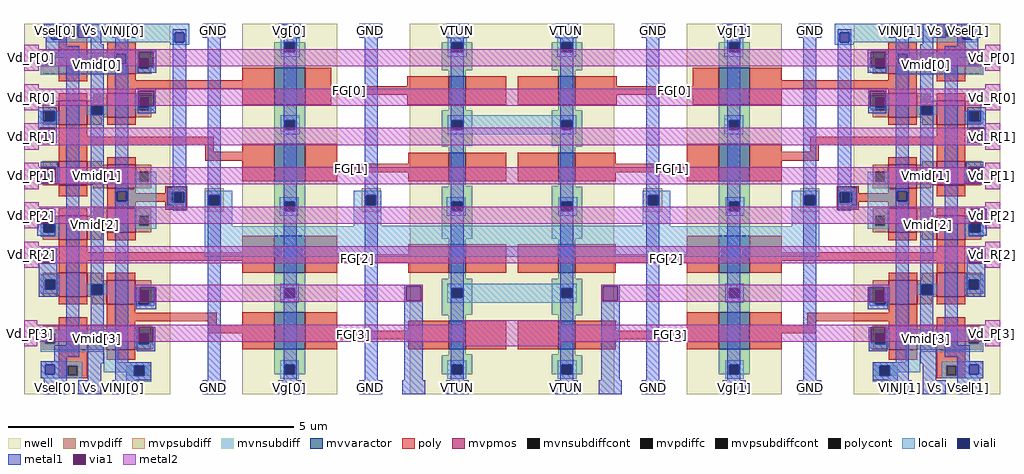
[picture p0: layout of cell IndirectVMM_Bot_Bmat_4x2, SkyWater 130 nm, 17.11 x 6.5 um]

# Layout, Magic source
magic
tech sky130A
<< nwell >>
rect -3 1 253 651
rect 380 1 546 651
rect 673 1 1032 651
rect 1159 1 1325 651
rect 1452 1 1708 651
<< mvpmos >>
rect 58 563 108 605
rect 143 563 193 605
rect 58 474 108 516
rect 143 487 193 529
rect 1512 563 1562 605
rect 1597 563 1647 605
rect 58 368 108 410
rect 143 362 193 404
rect 1512 487 1562 529
rect 1597 474 1647 516
rect 58 272 108 314
rect 143 285 193 327
rect 1512 362 1562 404
rect 1597 368 1647 410
rect 1512 285 1562 327
rect 1597 272 1647 314
rect 58 172 108 214
rect 142 159 192 201
rect 58 79 108 121
rect 142 79 192 121
rect 1513 159 1563 201
rect 1597 172 1647 214
rect 1513 79 1563 121
rect 1597 79 1647 121
<< mvvaractor >>
rect 436 509 490 574
rect 742 509 771 559
rect 934 509 963 559
rect 1215 509 1269 574
rect 436 375 490 440
rect 742 375 771 425
rect 934 375 963 425
rect 1215 375 1269 440
rect 436 214 490 279
rect 742 214 771 264
rect 934 214 963 264
rect 1215 214 1269 279
rect 436 80 490 145
rect 742 80 771 130
rect 934 80 963 130
rect 1215 80 1269 145
<< mvpdiff >>
rect 30 596 58 605
rect 30 579 34 596
rect 52 579 58 596
rect 30 563 58 579
rect 108 563 143 605
rect 193 590 220 605
rect 193 573 199 590
rect 216 573 220 590
rect 193 563 220 573
rect 118 516 143 529
rect 30 497 58 516
rect 30 480 34 497
rect 52 480 58 497
rect 30 474 58 480
rect 108 508 143 516
rect 108 491 116 508
rect 134 491 143 508
rect 108 487 143 491
rect 193 516 220 529
rect 193 499 199 516
rect 216 499 220 516
rect 1485 590 1512 605
rect 1485 573 1489 590
rect 1506 573 1512 590
rect 1485 563 1512 573
rect 1562 563 1597 605
rect 1647 596 1675 605
rect 1647 579 1653 596
rect 1671 579 1675 596
rect 1647 563 1675 579
rect 1485 516 1512 529
rect 193 487 220 499
rect 108 474 133 487
rect 30 399 58 410
rect 30 382 34 399
rect 52 382 58 399
rect 30 368 58 382
rect 108 404 133 410
rect 108 368 143 404
rect 118 362 143 368
rect 193 391 220 404
rect 193 374 199 391
rect 216 374 220 391
rect 1485 499 1489 516
rect 1506 499 1512 516
rect 1485 487 1512 499
rect 1562 516 1587 529
rect 1562 508 1597 516
rect 1562 491 1571 508
rect 1589 491 1597 508
rect 1562 487 1597 491
rect 1572 474 1597 487
rect 1647 497 1675 516
rect 1647 480 1653 497
rect 1671 480 1675 497
rect 1647 474 1675 480
rect 1572 404 1597 410
rect 1485 391 1512 404
rect 193 362 220 374
rect 118 314 143 327
rect 30 302 58 314
rect 30 285 34 302
rect 52 285 58 302
rect 30 272 58 285
rect 108 285 143 314
rect 193 314 220 327
rect 193 297 199 314
rect 216 297 220 314
rect 193 285 220 297
rect 108 272 134 285
rect 1485 374 1489 391
rect 1506 374 1512 391
rect 1485 362 1512 374
rect 1562 368 1597 404
rect 1647 399 1675 410
rect 1647 382 1653 399
rect 1671 382 1675 399
rect 1647 368 1675 382
rect 1562 362 1587 368
rect 1485 314 1512 327
rect 1485 297 1489 314
rect 1506 297 1512 314
rect 1485 285 1512 297
rect 1562 314 1587 327
rect 1562 285 1597 314
rect 1571 272 1597 285
rect 1647 302 1675 314
rect 1647 285 1653 302
rect 1671 285 1675 302
rect 1647 272 1675 285
rect 30 202 58 214
rect 30 185 34 202
rect 52 185 58 202
rect 30 172 58 185
rect 108 201 134 214
rect 108 193 142 201
rect 108 176 116 193
rect 134 176 142 193
rect 108 172 142 176
rect 117 159 142 172
rect 192 183 220 201
rect 192 166 198 183
rect 216 166 220 183
rect 192 159 220 166
rect 30 107 58 121
rect 30 90 34 107
rect 52 90 58 107
rect 30 79 58 90
rect 108 79 142 121
rect 192 106 220 121
rect 192 89 198 106
rect 216 89 220 106
rect 192 79 220 89
rect 1571 201 1597 214
rect 1485 183 1513 201
rect 1485 166 1489 183
rect 1507 166 1513 183
rect 1485 159 1513 166
rect 1563 193 1597 201
rect 1563 176 1571 193
rect 1589 176 1597 193
rect 1563 172 1597 176
rect 1647 202 1675 214
rect 1647 185 1653 202
rect 1671 185 1675 202
rect 1647 172 1675 185
rect 1563 159 1588 172
rect 1485 106 1513 121
rect 1485 89 1489 106
rect 1507 89 1513 106
rect 1485 79 1513 89
rect 1563 79 1597 121
rect 1647 107 1675 121
rect 1647 90 1653 107
rect 1671 90 1675 107
rect 1647 79 1675 90
<< mvpdiffc >>
rect 34 579 52 596
rect 199 573 216 590
rect 34 480 52 497
rect 116 491 134 508
rect 199 499 216 516
rect 1489 573 1506 590
rect 1653 579 1671 596
rect 34 382 52 399
rect 199 374 216 391
rect 1489 499 1506 516
rect 1571 491 1589 508
rect 1653 480 1671 497
rect 34 285 52 302
rect 199 297 216 314
rect 1489 374 1506 391
rect 1653 382 1671 399
rect 1489 297 1506 314
rect 1653 285 1671 302
rect 34 185 52 202
rect 116 176 134 193
rect 198 166 216 183
rect 34 90 52 107
rect 198 89 216 106
rect 1489 166 1507 183
rect 1571 176 1589 193
rect 1653 185 1671 202
rect 1489 89 1507 106
rect 1653 90 1671 107
<< mvpsubdiff >>
rect 314 350 347 362
rect 314 333 322 350
rect 339 333 347 350
rect 314 321 347 333
rect 589 350 622 362
rect 589 333 597 350
rect 614 333 622 350
rect 589 321 622 333
rect 1083 350 1116 362
rect 1083 333 1091 350
rect 1108 333 1116 350
rect 1083 321 1116 333
rect 1358 350 1391 362
rect 1358 333 1366 350
rect 1383 333 1391 350
rect 1358 321 1391 333
<< mvnsubdiff >>
rect 436 601 455 618
rect 472 601 490 618
rect 436 574 490 601
rect 729 601 748 618
rect 765 601 783 618
rect 729 569 783 601
rect 922 601 940 618
rect 957 601 976 618
rect 922 569 976 601
rect 1215 601 1233 618
rect 1250 601 1269 618
rect 1215 574 1269 601
rect 742 559 771 569
rect 934 559 963 569
rect 436 482 490 509
rect 742 499 771 509
rect 934 499 963 509
rect 436 465 455 482
rect 472 465 490 482
rect 436 440 490 465
rect 729 482 783 499
rect 729 465 748 482
rect 765 465 783 482
rect 729 437 783 465
rect 922 482 976 499
rect 922 465 940 482
rect 957 465 976 482
rect 922 437 976 465
rect 1215 482 1269 509
rect 1215 465 1233 482
rect 1250 465 1269 482
rect 1215 440 1269 465
rect 729 435 771 437
rect 742 425 771 435
rect 934 435 976 437
rect 934 425 963 435
rect 436 339 490 375
rect 742 367 771 375
rect 934 367 963 375
rect 742 365 783 367
rect 436 322 453 339
rect 470 322 490 339
rect 436 279 490 322
rect 729 339 783 365
rect 729 322 746 339
rect 763 322 783 339
rect 729 274 783 322
rect 922 365 963 367
rect 922 339 976 365
rect 922 322 942 339
rect 959 322 976 339
rect 922 274 976 322
rect 1215 339 1269 375
rect 1215 322 1235 339
rect 1252 322 1269 339
rect 1215 279 1269 322
rect 742 264 771 274
rect 934 264 963 274
rect 436 187 490 214
rect 742 204 771 214
rect 934 204 963 214
rect 436 170 454 187
rect 471 170 490 187
rect 436 145 490 170
rect 729 187 783 204
rect 729 170 747 187
rect 764 170 783 187
rect 729 141 783 170
rect 922 187 976 204
rect 922 170 941 187
rect 958 170 976 187
rect 922 141 976 170
rect 1215 187 1269 214
rect 1215 170 1234 187
rect 1251 170 1269 187
rect 1215 145 1269 170
rect 729 140 771 141
rect 742 130 771 140
rect 934 140 976 141
rect 934 130 963 140
rect 436 53 490 80
rect 742 71 771 80
rect 934 71 963 80
rect 742 70 783 71
rect 176 51 220 52
rect 176 34 190 51
rect 208 34 220 51
rect 436 36 454 53
rect 471 36 490 53
rect 729 53 783 70
rect 729 36 747 53
rect 764 36 783 53
rect 922 70 963 71
rect 922 53 976 70
rect 922 36 941 53
rect 958 36 976 53
rect 1215 53 1269 80
rect 1215 36 1234 53
rect 1251 36 1269 53
rect 1485 51 1529 52
rect 1485 34 1497 51
rect 1515 34 1529 51
<< mvpsubdiffcont >>
rect 322 333 339 350
rect 597 333 614 350
rect 1091 333 1108 350
rect 1366 333 1383 350
<< mvnsubdiffcont >>
rect 455 601 472 618
rect 748 601 765 618
rect 940 601 957 618
rect 1233 601 1250 618
rect 455 465 472 482
rect 748 465 765 482
rect 940 465 957 482
rect 1233 465 1250 482
rect 453 322 470 339
rect 746 322 763 339
rect 942 322 959 339
rect 1235 322 1252 339
rect 454 170 471 187
rect 747 170 764 187
rect 941 170 958 187
rect 1234 170 1251 187
rect 190 34 208 51
rect 454 36 471 53
rect 747 36 764 53
rect 941 36 958 53
rect 1234 36 1251 53
rect 1497 34 1515 51
<< poly >>
rect 58 646 108 651
rect 58 629 74 646
rect 91 629 108 646
rect 58 605 108 629
rect 1597 646 1647 651
rect 1597 629 1614 646
rect 1631 629 1647 646
rect 143 605 193 618
rect 58 550 108 563
rect 143 552 193 563
rect 380 552 436 574
rect 143 537 436 552
rect 143 529 193 537
rect 58 516 108 529
rect 380 509 436 537
rect 490 541 536 574
rect 1512 605 1562 618
rect 1597 605 1647 629
rect 669 541 742 559
rect 490 526 742 541
rect 490 509 536 526
rect 669 509 742 526
rect 771 509 842 559
rect 863 509 934 559
rect 963 541 1036 559
rect 1169 541 1215 574
rect 963 526 1215 541
rect 963 509 1036 526
rect 1169 509 1215 526
rect 1269 552 1325 574
rect 1512 552 1562 563
rect 1269 537 1562 552
rect 1597 550 1647 563
rect 1269 509 1325 537
rect 1512 529 1562 537
rect 143 474 193 487
rect 58 453 108 474
rect 58 438 330 453
rect 58 410 108 438
rect 315 426 330 438
rect 380 426 436 440
rect 143 404 193 417
rect 315 411 436 426
rect 58 348 108 368
rect 380 375 436 411
rect 490 405 546 440
rect 1597 516 1647 529
rect 1512 474 1562 487
rect 1597 453 1647 474
rect 671 405 742 425
rect 490 390 742 405
rect 490 375 546 390
rect 671 375 742 390
rect 771 375 842 425
rect 863 375 934 425
rect 963 405 1034 425
rect 1159 405 1215 440
rect 963 390 1215 405
rect 963 375 1034 390
rect 1159 375 1215 390
rect 1269 426 1325 440
rect 1375 438 1647 453
rect 1375 426 1390 438
rect 1269 411 1390 426
rect 1269 375 1325 411
rect 1512 404 1562 417
rect 1597 410 1647 438
rect 143 354 193 362
rect 245 355 283 366
rect 245 354 256 355
rect 143 339 256 354
rect 143 327 193 339
rect 245 338 256 339
rect 273 338 283 355
rect 58 314 108 327
rect 245 325 283 338
rect 58 250 108 272
rect 143 271 193 285
rect 380 250 436 279
rect 58 235 436 250
rect 58 214 108 235
rect 380 214 436 235
rect 490 247 546 279
rect 1422 355 1460 366
rect 1422 338 1432 355
rect 1449 354 1460 355
rect 1512 354 1562 362
rect 1449 339 1562 354
rect 1597 348 1647 368
rect 1449 338 1460 339
rect 1422 325 1460 338
rect 1512 327 1562 339
rect 1597 314 1647 327
rect 671 247 742 264
rect 490 232 742 247
rect 490 214 546 232
rect 671 214 742 232
rect 771 214 842 264
rect 863 214 934 264
rect 963 247 1034 264
rect 1159 247 1215 279
rect 963 232 1215 247
rect 963 214 1034 232
rect 1159 214 1215 232
rect 1269 250 1325 279
rect 1512 271 1562 285
rect 1597 250 1647 272
rect 1269 235 1647 250
rect 1269 214 1325 235
rect 1597 214 1647 235
rect 142 201 192 214
rect 58 159 108 172
rect 142 144 192 159
rect 58 121 108 136
rect 142 129 335 144
rect 142 121 192 129
rect 319 123 335 129
rect 380 123 436 145
rect 319 108 436 123
rect 380 80 436 108
rect 490 113 546 145
rect 1513 201 1563 214
rect 1597 159 1647 172
rect 671 113 742 130
rect 490 98 742 113
rect 490 80 546 98
rect 671 80 742 98
rect 771 80 842 130
rect 863 80 934 130
rect 963 113 1034 130
rect 1159 113 1215 145
rect 963 98 1215 113
rect 963 80 1034 98
rect 1159 80 1215 98
rect 1269 123 1325 145
rect 1513 144 1563 159
rect 1370 129 1563 144
rect 1370 123 1386 129
rect 1269 108 1386 123
rect 1513 121 1563 129
rect 1597 121 1647 136
rect 1269 80 1325 108
rect 58 51 108 79
rect 142 62 192 79
rect 58 34 74 51
rect 91 34 108 51
rect 1513 62 1563 79
rect 1597 51 1647 79
rect 1597 34 1614 51
rect 1631 34 1647 51
rect 58 29 108 34
rect 1597 29 1647 34
<< polycont >>
rect 74 629 91 646
rect 1614 629 1631 646
rect 256 338 273 355
rect 1432 338 1449 355
rect 74 34 91 51
rect 1614 34 1631 51
<< locali >>
rect 36 646 287 651
rect 36 641 74 646
rect 36 624 45 641
rect 62 629 74 641
rect 91 635 287 646
rect 91 629 261 635
rect 62 624 261 629
rect 36 618 261 624
rect 278 618 287 635
rect 1418 646 1669 651
rect 1418 635 1614 646
rect 253 614 287 618
rect 447 618 480 626
rect 447 601 455 618
rect 472 601 480 618
rect 26 598 176 600
rect 26 596 159 598
rect 26 579 34 596
rect 52 581 159 596
rect 52 579 176 581
rect 26 561 176 579
rect 193 591 220 598
rect 447 593 480 601
rect 740 618 773 626
rect 740 601 748 618
rect 765 601 773 618
rect 740 593 773 601
rect 932 618 965 626
rect 932 601 940 618
rect 957 601 965 618
rect 932 593 965 601
rect 1225 618 1258 626
rect 1225 601 1233 618
rect 1250 601 1258 618
rect 1418 618 1427 635
rect 1444 629 1614 635
rect 1631 641 1669 646
rect 1631 629 1643 641
rect 1444 624 1643 629
rect 1660 624 1669 641
rect 1444 618 1669 624
rect 1418 614 1452 618
rect 1225 593 1258 601
rect 1529 598 1679 600
rect 1485 591 1512 598
rect 193 590 225 591
rect 193 573 199 590
rect 216 574 225 590
rect 1480 590 1512 591
rect 1480 574 1489 590
rect 216 573 220 574
rect 193 565 220 573
rect 1485 573 1489 574
rect 1506 573 1512 590
rect 1485 565 1512 573
rect 1546 596 1679 598
rect 1546 581 1653 596
rect 1529 579 1653 581
rect 1671 579 1679 596
rect 1529 561 1679 579
rect 191 521 224 525
rect 26 480 31 497
rect 52 480 60 497
rect 108 491 116 508
rect 134 491 143 508
rect 191 499 199 521
rect 216 520 224 521
rect 1481 521 1514 525
rect 1481 520 1489 521
rect 216 503 228 520
rect 1477 503 1489 520
rect 216 499 224 503
rect 1481 499 1489 503
rect 1506 499 1514 521
rect 1562 491 1571 508
rect 1589 491 1597 508
rect 26 476 60 480
rect 447 482 480 490
rect 447 465 455 482
rect 472 465 480 482
rect 447 457 480 465
rect 740 482 965 490
rect 740 465 748 482
rect 765 465 940 482
rect 957 465 965 482
rect 740 457 965 465
rect 1225 482 1258 490
rect 1225 465 1233 482
rect 1250 465 1258 482
rect 1645 480 1653 497
rect 1674 480 1679 497
rect 1645 476 1679 480
rect 1225 457 1258 465
rect 26 398 34 399
rect 26 381 33 398
rect 52 382 60 399
rect 50 381 60 382
rect 26 374 60 381
rect 191 374 199 391
rect 216 374 229 391
rect 191 361 229 374
rect 1476 374 1489 391
rect 1506 374 1514 391
rect 1645 382 1653 399
rect 1671 398 1679 399
rect 1645 381 1655 382
rect 1672 381 1679 398
rect 1645 374 1679 381
rect 157 357 229 361
rect 157 340 160 357
rect 177 340 229 357
rect 157 330 229 340
rect 191 314 229 330
rect 248 355 281 364
rect 248 338 256 355
rect 278 338 281 355
rect 248 326 281 338
rect 314 350 362 358
rect 314 333 322 350
rect 339 333 362 350
rect 575 350 623 358
rect 26 302 60 310
rect 26 285 32 302
rect 52 285 60 302
rect 191 297 199 314
rect 216 297 229 314
rect 191 291 229 297
rect 314 296 362 333
rect 445 339 478 347
rect 445 322 453 339
rect 472 322 478 339
rect 445 314 478 322
rect 575 333 597 350
rect 614 333 623 350
rect 1082 350 1130 358
rect 575 297 623 333
rect 738 339 771 347
rect 738 322 746 339
rect 765 322 771 339
rect 738 314 771 322
rect 934 339 967 347
rect 934 322 940 339
rect 959 322 967 339
rect 934 314 967 322
rect 1082 333 1091 350
rect 1108 333 1130 350
rect 1343 350 1391 358
rect 1082 297 1130 333
rect 1227 339 1260 347
rect 1227 322 1233 339
rect 1252 322 1260 339
rect 1227 314 1260 322
rect 1343 333 1366 350
rect 1383 333 1391 350
rect 575 296 1130 297
rect 1343 296 1391 333
rect 1424 355 1457 364
rect 1424 338 1427 355
rect 1449 338 1457 355
rect 1424 326 1457 338
rect 1476 361 1514 374
rect 1476 357 1548 361
rect 1476 340 1528 357
rect 1545 340 1548 357
rect 1476 330 1548 340
rect 26 277 60 285
rect 314 242 1391 296
rect 1476 314 1514 330
rect 1476 297 1489 314
rect 1506 297 1514 314
rect 1476 291 1514 297
rect 1645 302 1679 310
rect 1645 285 1653 302
rect 1673 285 1679 302
rect 1645 277 1679 285
rect 26 202 60 212
rect 26 185 34 202
rect 52 185 60 202
rect 1645 202 1679 212
rect 26 177 60 185
rect 108 193 142 195
rect 108 176 116 193
rect 134 176 142 193
rect 190 183 226 189
rect 190 159 198 183
rect 216 159 226 183
rect 446 187 479 195
rect 446 170 454 187
rect 472 170 479 187
rect 446 162 479 170
rect 739 187 966 195
rect 739 170 747 187
rect 765 170 940 187
rect 958 170 966 187
rect 739 162 966 170
rect 1226 187 1259 195
rect 1563 193 1597 195
rect 1226 170 1233 187
rect 1251 170 1259 187
rect 1226 162 1259 170
rect 1479 183 1515 189
rect 1479 159 1489 183
rect 1507 159 1515 183
rect 1563 176 1571 193
rect 1589 176 1597 193
rect 1645 185 1653 202
rect 1671 185 1679 202
rect 1645 177 1679 185
rect 190 156 225 159
rect 1480 156 1515 159
rect 137 114 162 115
rect 1543 114 1568 115
rect 26 107 162 114
rect 26 90 34 107
rect 52 90 162 107
rect 26 76 162 90
rect 190 107 224 114
rect 190 89 198 107
rect 216 89 224 107
rect 190 81 224 89
rect 1481 107 1515 114
rect 1481 89 1489 107
rect 1507 89 1515 107
rect 1481 81 1515 89
rect 1543 107 1679 114
rect 1543 90 1653 107
rect 1671 90 1679 107
rect 26 53 99 59
rect 26 36 34 53
rect 51 51 99 53
rect 51 36 74 51
rect 26 34 74 36
rect 91 34 99 51
rect 137 57 162 76
rect 1543 76 1679 90
rect 137 51 220 57
rect 137 40 190 51
rect 26 29 99 34
rect 176 34 190 40
rect 208 34 220 51
rect 176 23 220 34
rect 446 53 479 61
rect 446 36 454 53
rect 472 36 479 53
rect 446 28 479 36
rect 739 53 772 61
rect 739 36 747 53
rect 765 36 772 53
rect 739 28 772 36
rect 933 53 966 61
rect 933 36 940 53
rect 958 36 966 53
rect 933 28 966 36
rect 1226 53 1259 61
rect 1543 57 1568 76
rect 1226 36 1233 53
rect 1251 36 1259 53
rect 1226 28 1259 36
rect 1485 51 1568 57
rect 1485 34 1497 51
rect 1515 40 1568 51
rect 1606 53 1679 59
rect 1606 51 1654 53
rect 1515 34 1529 40
rect 1485 23 1529 34
rect 1606 34 1614 51
rect 1631 36 1654 51
rect 1671 36 1679 53
rect 1631 34 1679 36
rect 1606 29 1679 34
<< viali >>
rect 45 624 62 641
rect 261 618 278 635
rect 455 601 472 618
rect 159 581 176 598
rect 748 601 765 618
rect 940 601 957 618
rect 1233 601 1250 618
rect 1427 618 1444 635
rect 1643 624 1660 641
rect 199 573 216 590
rect 1489 573 1506 590
rect 1529 581 1546 598
rect 31 480 34 497
rect 34 480 49 497
rect 117 491 134 508
rect 199 516 216 521
rect 199 504 216 516
rect 1489 516 1506 521
rect 1489 504 1506 516
rect 1571 491 1588 508
rect 455 465 472 482
rect 748 465 765 482
rect 940 465 957 482
rect 1233 465 1250 482
rect 1656 480 1671 497
rect 1671 480 1674 497
rect 33 382 34 398
rect 34 382 50 398
rect 33 381 50 382
rect 1655 382 1671 398
rect 1671 382 1672 398
rect 1655 381 1672 382
rect 160 340 177 357
rect 261 338 273 355
rect 273 338 278 355
rect 322 333 339 350
rect 32 285 34 302
rect 34 285 49 302
rect 455 322 470 339
rect 470 322 472 339
rect 597 333 614 350
rect 748 322 763 339
rect 763 322 765 339
rect 940 322 942 339
rect 942 322 957 339
rect 1091 333 1108 350
rect 1233 322 1235 339
rect 1235 322 1250 339
rect 1366 333 1383 350
rect 1427 338 1432 355
rect 1432 338 1444 355
rect 1528 340 1545 357
rect 1656 285 1671 302
rect 1671 285 1673 302
rect 34 185 52 202
rect 117 176 134 193
rect 198 166 216 176
rect 198 159 216 166
rect 455 170 471 187
rect 471 170 472 187
rect 748 170 764 187
rect 764 170 765 187
rect 940 170 941 187
rect 941 170 957 187
rect 1233 170 1234 187
rect 1234 170 1250 187
rect 1489 166 1507 176
rect 1489 159 1507 166
rect 1571 176 1588 193
rect 1653 185 1671 202
rect 198 106 216 107
rect 198 90 216 106
rect 1489 106 1507 107
rect 1489 90 1507 106
rect 34 36 51 53
rect 190 34 208 51
rect 455 36 471 53
rect 471 36 472 53
rect 748 36 764 53
rect 764 36 765 53
rect 940 36 941 53
rect 941 36 957 53
rect 1233 36 1234 53
rect 1234 36 1250 53
rect 1497 34 1515 51
rect 1654 36 1671 53
<< metal1 >>
rect 32 641 72 651
rect 32 626 45 641
rect 35 624 45 626
rect 62 624 72 641
rect 92 626 132 651
rect 152 626 192 651
rect 258 635 281 641
rect 35 611 72 624
rect 114 615 132 626
rect 35 591 94 611
rect 22 497 54 504
rect 22 480 31 497
rect 49 480 54 497
rect 22 468 54 480
rect 22 442 25 468
rect 51 442 54 468
rect 22 441 54 442
rect 26 399 56 409
rect 26 373 27 399
rect 53 373 56 399
rect 26 370 56 373
rect 20 300 23 326
rect 20 285 32 300
rect 49 285 52 326
rect 20 279 52 285
rect 23 231 26 257
rect 52 231 55 257
rect 23 202 55 231
rect 23 185 34 202
rect 52 185 55 202
rect 23 172 55 185
rect 71 87 94 591
rect 114 508 137 615
rect 157 602 180 626
rect 258 618 261 635
rect 278 618 281 635
rect 310 626 350 651
rect 443 626 483 651
rect 585 626 625 651
rect 737 626 777 651
rect 928 626 968 651
rect 1080 626 1120 651
rect 1222 626 1262 651
rect 1355 626 1395 651
rect 1424 635 1447 641
rect 155 598 180 602
rect 155 581 159 598
rect 176 581 180 598
rect 155 575 180 581
rect 114 491 117 508
rect 134 491 137 508
rect 114 193 137 491
rect 114 176 117 193
rect 134 176 137 193
rect 114 94 137 176
rect 50 67 94 87
rect 50 59 72 67
rect 26 53 72 59
rect 26 36 34 53
rect 51 36 72 53
rect 26 29 72 36
rect 32 1 72 29
rect 109 56 137 94
rect 157 357 180 575
rect 196 602 229 605
rect 196 576 198 602
rect 224 576 229 602
rect 196 573 199 576
rect 216 573 229 576
rect 196 565 229 573
rect 196 533 228 537
rect 196 504 199 533
rect 225 507 228 533
rect 216 504 228 507
rect 196 494 228 504
rect 258 364 281 618
rect 157 340 160 357
rect 177 340 180 357
rect 157 57 180 340
rect 248 355 281 364
rect 248 338 261 355
rect 278 338 281 355
rect 248 333 281 338
rect 258 323 281 333
rect 319 350 342 626
rect 319 333 322 350
rect 339 333 342 350
rect 194 176 200 189
rect 194 159 198 176
rect 226 163 229 189
rect 216 159 229 163
rect 194 150 229 159
rect 195 90 198 119
rect 224 93 227 119
rect 216 90 227 93
rect 195 77 227 90
rect 109 26 132 56
rect 157 51 220 57
rect 157 34 190 51
rect 208 34 220 51
rect 157 26 220 34
rect 319 26 342 333
rect 452 618 475 626
rect 452 601 455 618
rect 472 601 475 618
rect 452 482 475 601
rect 452 465 455 482
rect 472 465 475 482
rect 452 339 475 465
rect 452 322 455 339
rect 472 322 475 339
rect 452 187 475 322
rect 452 170 455 187
rect 472 170 475 187
rect 452 53 475 170
rect 452 36 455 53
rect 472 36 475 53
rect 452 26 475 36
rect 594 350 617 626
rect 594 333 597 350
rect 614 333 617 350
rect 594 26 617 333
rect 745 618 768 626
rect 745 601 748 618
rect 765 601 768 618
rect 745 482 768 601
rect 745 465 748 482
rect 765 465 768 482
rect 745 339 768 465
rect 745 322 748 339
rect 765 322 768 339
rect 664 191 696 193
rect 664 165 667 191
rect 693 165 696 191
rect 664 26 696 165
rect 745 187 768 322
rect 745 170 748 187
rect 765 170 768 187
rect 745 53 768 170
rect 745 36 748 53
rect 765 36 768 53
rect 745 26 768 36
rect 937 618 960 626
rect 937 601 940 618
rect 957 601 960 618
rect 937 482 960 601
rect 937 465 940 482
rect 957 465 960 482
rect 937 339 960 465
rect 937 322 940 339
rect 957 322 960 339
rect 937 187 960 322
rect 1088 350 1111 626
rect 1088 333 1091 350
rect 1108 333 1111 350
rect 937 170 940 187
rect 957 170 960 187
rect 937 53 960 170
rect 937 36 940 53
rect 957 36 960 53
rect 937 26 960 36
rect 1009 191 1041 193
rect 1009 165 1012 191
rect 1038 165 1041 191
rect 1009 26 1041 165
rect 1088 26 1111 333
rect 1230 618 1253 626
rect 1230 601 1233 618
rect 1250 601 1253 618
rect 1230 482 1253 601
rect 1230 465 1233 482
rect 1250 465 1253 482
rect 1230 339 1253 465
rect 1230 322 1233 339
rect 1250 322 1253 339
rect 1230 187 1253 322
rect 1230 170 1233 187
rect 1250 170 1253 187
rect 1230 53 1253 170
rect 1230 36 1233 53
rect 1250 36 1253 53
rect 1230 26 1253 36
rect 1363 350 1386 626
rect 1363 333 1366 350
rect 1383 333 1386 350
rect 1363 26 1386 333
rect 1424 618 1427 635
rect 1444 618 1447 635
rect 1513 626 1553 651
rect 1573 626 1613 651
rect 1633 641 1673 651
rect 1424 364 1447 618
rect 1476 602 1509 605
rect 1476 576 1481 602
rect 1507 576 1509 602
rect 1476 573 1489 576
rect 1506 573 1509 576
rect 1476 565 1509 573
rect 1525 602 1548 626
rect 1573 615 1591 626
rect 1525 598 1550 602
rect 1525 581 1529 598
rect 1546 581 1550 598
rect 1525 575 1550 581
rect 1477 533 1509 537
rect 1477 507 1480 533
rect 1477 504 1489 507
rect 1506 504 1509 533
rect 1477 494 1509 504
rect 1424 355 1457 364
rect 1424 338 1427 355
rect 1444 338 1457 355
rect 1424 333 1457 338
rect 1525 357 1548 575
rect 1525 340 1528 357
rect 1545 340 1548 357
rect 1424 323 1447 333
rect 1476 163 1479 189
rect 1505 176 1511 189
rect 1476 159 1489 163
rect 1507 159 1511 176
rect 1476 150 1511 159
rect 1478 93 1481 119
rect 1478 90 1489 93
rect 1507 90 1510 119
rect 1478 77 1510 90
rect 1525 57 1548 340
rect 1485 51 1548 57
rect 1568 508 1591 615
rect 1633 624 1643 641
rect 1660 626 1673 641
rect 1660 624 1670 626
rect 1633 611 1670 624
rect 1568 491 1571 508
rect 1588 491 1591 508
rect 1568 193 1591 491
rect 1568 176 1571 193
rect 1588 176 1591 193
rect 1568 94 1591 176
rect 1611 591 1670 611
rect 1568 56 1596 94
rect 1611 87 1634 591
rect 1651 497 1683 504
rect 1651 480 1656 497
rect 1674 480 1683 497
rect 1651 468 1683 480
rect 1651 442 1654 468
rect 1680 442 1683 468
rect 1651 441 1683 442
rect 1649 399 1679 409
rect 1649 373 1652 399
rect 1678 373 1679 399
rect 1649 370 1679 373
rect 1653 285 1656 326
rect 1682 300 1685 326
rect 1673 285 1685 300
rect 1653 279 1685 285
rect 1650 231 1653 257
rect 1679 231 1682 257
rect 1650 202 1682 231
rect 1650 185 1653 202
rect 1671 185 1682 202
rect 1650 172 1682 185
rect 1611 67 1655 87
rect 1485 34 1497 51
rect 1515 34 1548 51
rect 1485 26 1548 34
rect 1573 26 1596 56
rect 1633 59 1655 67
rect 1633 53 1679 59
rect 1633 36 1654 53
rect 1671 36 1679 53
rect 1633 29 1679 36
rect 92 1 132 26
rect 152 1 192 26
rect 310 1 350 26
rect 443 1 483 26
rect 585 1 625 26
rect 660 1 700 26
rect 737 1 777 26
rect 928 1 968 26
rect 1005 1 1045 26
rect 1080 1 1120 26
rect 1222 1 1262 26
rect 1355 1 1395 26
rect 1513 1 1553 26
rect 1573 1 1613 26
rect 1633 1 1673 29
<< via1 >>
rect 25 442 51 468
rect 27 398 53 399
rect 27 381 33 398
rect 33 381 50 398
rect 50 381 53 398
rect 27 373 53 381
rect 23 302 49 326
rect 23 300 32 302
rect 32 300 49 302
rect 26 231 52 257
rect 198 590 224 602
rect 198 576 199 590
rect 199 576 216 590
rect 216 576 224 590
rect 199 521 225 533
rect 199 507 216 521
rect 216 507 225 521
rect 200 176 226 189
rect 200 163 216 176
rect 216 163 226 176
rect 198 107 224 119
rect 198 93 216 107
rect 216 93 224 107
rect 667 165 693 191
rect 1012 165 1038 191
rect 1481 590 1507 602
rect 1481 576 1489 590
rect 1489 576 1506 590
rect 1506 576 1507 590
rect 1480 521 1506 533
rect 1480 507 1489 521
rect 1489 507 1506 521
rect 1479 176 1505 189
rect 1479 163 1489 176
rect 1489 163 1505 176
rect 1481 107 1507 119
rect 1481 93 1489 107
rect 1489 93 1507 107
rect 1654 442 1680 468
rect 1652 398 1678 399
rect 1652 381 1655 398
rect 1655 381 1672 398
rect 1672 381 1678 398
rect 1652 373 1678 381
rect 1656 302 1682 326
rect 1656 300 1673 302
rect 1673 300 1682 302
rect 1653 231 1679 257
<< metal2 >>
rect -3 606 23 614
rect 1682 606 1708 614
rect -3 602 1708 606
rect -3 576 198 602
rect 224 576 1481 602
rect 1507 576 1708 602
rect -3 568 23 576
rect 1682 568 1708 576
rect -3 537 23 545
rect 1682 537 1708 545
rect -3 533 1708 537
rect -3 507 199 533
rect 225 507 1480 533
rect 1506 507 1708 533
rect -3 499 23 507
rect 1682 499 1708 507
rect -3 468 23 476
rect 1682 468 1708 476
rect -3 442 25 468
rect 51 442 1654 468
rect 1680 442 1708 468
rect -3 438 1708 442
rect -3 430 23 438
rect 1682 430 1708 438
rect -3 399 23 407
rect 1682 399 1708 407
rect -3 373 27 399
rect 53 373 1652 399
rect 1678 373 1708 399
rect -3 369 1708 373
rect -3 361 23 369
rect 1682 361 1708 369
rect -3 330 23 338
rect 1682 330 1708 338
rect -3 326 1708 330
rect -3 292 23 326
rect 49 300 1656 326
rect 1682 292 1708 326
rect -3 261 23 269
rect 1682 261 1708 269
rect -3 257 1708 261
rect -3 231 26 257
rect 52 231 1653 257
rect 1679 231 1708 257
rect -3 223 23 231
rect 1682 223 1708 231
rect 192 191 696 193
rect 192 189 667 191
rect 192 163 200 189
rect 226 165 667 189
rect 693 165 696 191
rect 226 163 696 165
rect 1009 191 1514 193
rect 1009 165 1012 191
rect 1038 189 1514 191
rect 1038 165 1479 189
rect 1009 163 1479 165
rect 1505 163 1514 189
rect -3 123 20 131
rect 765 123 940 131
rect 1682 123 1708 131
rect -3 119 1708 123
rect -3 93 198 119
rect 224 93 1481 119
rect 1507 93 1708 119
rect -3 85 20 93
rect 766 85 939 93
rect 1682 85 1708 93
<< labels >>
flabel metal1 1633 626 1673 651 0 FreeSans 64 0 0 0 Vsel[1]
port 14 nsew
flabel metal1 1573 626 1613 651 0 FreeSans 64 0 0 0 Vs[1]
port 13 nsew
flabel metal1 1513 626 1553 651 0 FreeSans 64 0 0 0 VINJ[1]
port 12 nsew
flabel metal1 1222 626 1262 651 0 FreeSans 64 0 0 0 Vg[1]
port 10 nsew
flabel metal1 443 626 483 651 0 FreeSans 64 0 0 0 Vg[0]
port 5 nsew
flabel metal1 152 626 192 651 0 FreeSans 64 0 0 0 VINJ[0]
port 2 nsew
flabel metal1 92 626 132 651 0 FreeSans 64 0 0 0 Vs[0]
port 1 nsew
flabel metal1 32 626 72 651 0 FreeSans 64 0 0 0 Vsel[0]
port 0 nsew
flabel metal1 1633 1 1673 26 0 FreeSans 64 0 0 0 Vsel[1]
port 14 nsew
flabel metal1 1573 1 1613 26 0 FreeSans 64 0 0 0 Vs[1]
port 13 nsew
flabel metal1 1513 1 1553 26 0 FreeSans 64 0 0 0 VINJ[1]
port 12 nsew
flabel metal1 1222 1 1262 26 0 FreeSans 64 0 0 0 Vg[1]
port 10 nsew
flabel metal1 443 1 483 26 0 FreeSans 64 0 0 0 Vg[0]
port 5 nsew
flabel metal1 152 1 192 26 0 FreeSans 64 0 0 0 VINJ[0]
port 2 nsew
flabel metal1 92 1 132 26 0 FreeSans 64 0 0 0 Vs[0]
port 1 nsew
flabel metal1 32 1 72 26 0 FreeSans 64 0 0 0 Vsel[0]
port 0 nsew
flabel metal2 1682 85 1708 131 0 FreeSans 64 90 0 0 Vd_P[3]
port 24 nsew
flabel poly 561 526 575 541 0 FreeSans 80 0 0 0 FG[0]
flabel poly 564 390 578 405 0 FreeSans 80 0 0 0 FG[1]
flabel poly 574 232 588 247 0 FreeSans 80 0 0 0 FG[2]
flabel poly 567 98 581 113 0 FreeSans 80 0 0 0 FG[3]
flabel mvpdiff 118 571 132 586 0 FreeSans 80 0 0 0 Vmid[0]
flabel mvpdiff 118 378 132 393 0 FreeSans 80 0 0 0 Vmid[1]
flabel mvpdiff 116 291 130 306 0 FreeSans 80 0 0 0 Vmid[2]
flabel mvpdiff 118 91 132 106 0 FreeSans 80 0 0 0 Vmid[3]
flabel metal2 -3 85 20 131 0 FreeSans 40 90 0 0 Vd_P[3]
port 33 nsew
flabel metal2 -3 223 23 269 0 FreeSans 40 90 0 0 Vd_R[2]
port 35 nsew
flabel metal2 -3 292 23 338 0 FreeSans 40 90 0 0 Vd_P[2]
port 36 nsew
flabel metal2 -3 361 23 407 0 FreeSans 40 90 0 0 Vd_P[1]
port 37 nsew
flabel metal2 -3 430 23 476 0 FreeSans 40 90 0 0 Vd_R[1]
port 38 nsew
flabel metal2 -3 499 23 545 0 FreeSans 40 90 0 0 Vd_R[0]
port 39 nsew
flabel metal2 -3 568 23 614 0 FreeSans 40 90 0 0 Vd_P[0]
port 40 nsew
flabel metal1 92 626 132 651 0 FreeSans 64 0 0 0 Vs
port 42 nsew
flabel metal1 32 626 72 651 0 FreeSans 64 0 0 0 Vsel
port 50 nsew
flabel metal1 152 626 192 651 0 FreeSans 64 0 0 0 VINJ
port 49 nsew
flabel metal1 585 626 625 651 0 FreeSans 64 0 0 0 GND
port 45 nsew
flabel metal1 737 626 777 651 0 FreeSans 64 0 0 0 VTUN
port 47 nsew
flabel metal1 443 626 483 651 0 FreeSans 64 0 0 0 Vg
port 46 nsew
flabel metal1 310 626 350 651 0 FreeSans 64 0 0 0 GND
port 45 nsew
flabel metal1 310 1 350 26 0 FreeSans 64 0 0 0 GND
port 45 nsew
flabel metal1 443 1 483 26 0 FreeSans 64 0 0 0 Vg
port 46 nsew
flabel metal1 737 1 777 26 0 FreeSans 64 0 0 0 VTUN
port 47 nsew
flabel metal1 585 1 625 26 0 FreeSans 64 0 0 0 GND
port 45 nsew
flabel metal1 152 1 192 26 0 FreeSans 64 0 0 0 VINJ
port 49 nsew
flabel metal1 92 1 132 26 0 FreeSans 64 0 0 0 Vs
port 42 nsew
flabel metal1 32 1 72 26 0 FreeSans 64 0 0 0 Vsel
port 50 nsew
flabel poly 1130 526 1144 541 0 FreeSans 80 180 0 0 FG[0]
flabel poly 1127 390 1141 405 0 FreeSans 80 180 0 0 FG[1]
flabel poly 1117 232 1131 247 0 FreeSans 80 180 0 0 FG[2]
flabel poly 1124 98 1138 113 0 FreeSans 80 180 0 0 FG[3]
flabel mvpdiff 1573 571 1587 586 0 FreeSans 80 180 0 0 Vmid[0]
flabel mvpdiff 1573 378 1587 393 0 FreeSans 80 180 0 0 Vmid[1]
flabel mvpdiff 1575 291 1589 306 0 FreeSans 80 180 0 0 Vmid[2]
flabel mvpdiff 1573 91 1587 106 0 FreeSans 80 180 0 0 Vmid[3]
flabel metal2 1685 85 1708 131 0 FreeSans 40 90 0 0 Vd_P[3]
port 33 nsew
flabel metal2 1682 223 1708 269 0 FreeSans 40 90 0 0 Vd_R[2]
port 35 nsew
flabel metal2 1682 292 1708 338 0 FreeSans 40 90 0 0 Vd_P[2]
port 36 nsew
flabel metal2 1682 361 1708 407 0 FreeSans 40 90 0 0 Vd_P[1]
port 37 nsew
flabel metal2 1682 430 1708 476 0 FreeSans 40 90 0 0 Vd_R[1]
port 38 nsew
flabel metal2 1682 499 1708 545 0 FreeSans 40 90 0 0 Vd_R[0]
port 39 nsew
flabel metal2 1682 568 1708 614 0 FreeSans 40 90 0 0 Vd_P[0]
port 40 nsew
flabel metal1 1573 626 1613 651 0 FreeSans 64 180 0 0 Vs
port 42 nsew
flabel metal1 1633 626 1673 651 0 FreeSans 64 180 0 0 Vsel
port 50 nsew
flabel metal1 1513 626 1553 651 0 FreeSans 64 180 0 0 VINJ
port 49 nsew
flabel metal1 1080 626 1120 651 0 FreeSans 64 180 0 0 GND
port 45 nsew
flabel metal1 928 626 968 651 0 FreeSans 64 180 0 0 VTUN
port 47 nsew
flabel metal1 1222 626 1262 651 0 FreeSans 64 180 0 0 Vg
port 46 nsew
flabel metal1 1355 626 1395 651 0 FreeSans 64 180 0 0 GND
port 45 nsew
flabel metal1 1355 1 1395 26 0 FreeSans 64 180 0 0 GND
port 45 nsew
flabel metal1 1222 1 1262 26 0 FreeSans 64 180 0 0 Vg
port 46 nsew
flabel metal1 928 1 968 26 0 FreeSans 64 180 0 0 VTUN
port 47 nsew
flabel metal1 1080 1 1120 26 0 FreeSans 64 180 0 0 GND
port 45 nsew
flabel metal1 1513 1 1553 26 0 FreeSans 64 180 0 0 VINJ
port 49 nsew
flabel metal1 1573 1 1613 26 0 FreeSans 64 180 0 0 Vs
port 42 nsew
flabel metal1 1633 1 1673 26 0 FreeSans 64 180 0 0 Vsel
port 50 nsew
flabel metal1 1005 1 1045 26 0 FreeSans 48 0 0 0 fg_mem[1]
port 53 nsew
flabel metal1 660 1 700 26 0 FreeSans 48 0 0 0 fg_mem[0]
port 55 nsew
<< end >>
